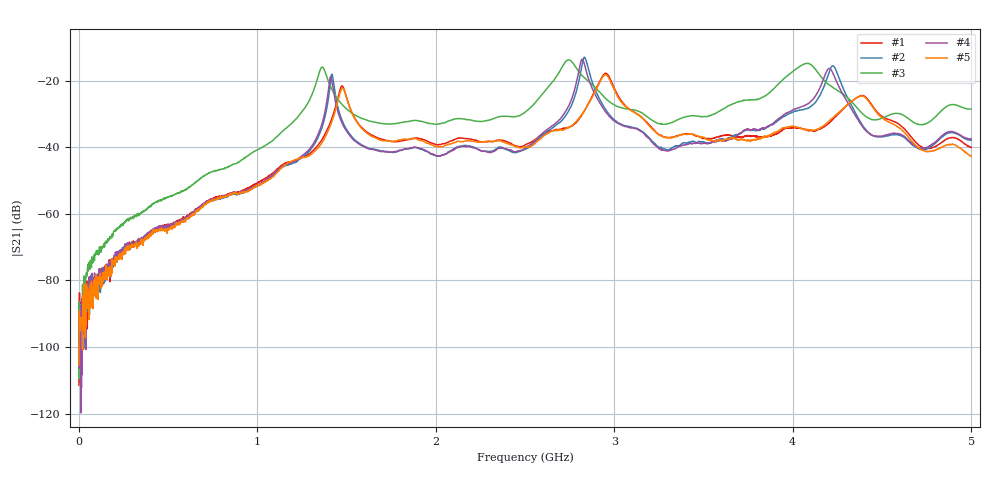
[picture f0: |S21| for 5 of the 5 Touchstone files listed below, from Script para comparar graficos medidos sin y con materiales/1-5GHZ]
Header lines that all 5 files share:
! NanoVNA-App
! Start: 10kHz Stop: 5GHz Points: 3201
! S-Parameter data: F S11 S21 S12 S22
# Hz S RI R 50
!  Frequency  S11_Real  S11_Imag  S21_Real  S21_Imag  S12_Real  S12_Imag  S22_Real  S22_Imag
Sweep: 10 kHz to 5 GHz
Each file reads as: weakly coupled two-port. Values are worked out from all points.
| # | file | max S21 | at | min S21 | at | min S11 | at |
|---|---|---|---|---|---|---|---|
| 1 | 1-5Ghz PP FR4 Taco Madera_puntos.s2p | -17.77 dB | 2.952 GHz | -111.4 dB | 10 kHz | -6.8 dB | 2.933 GHz |
| 2 | 1-5Ghz PP Rogers Taco Madera_puntos.s2p | -12.95 dB | 2.833 GHz | -106.7 dB | 10 kHz | -5.2 dB | 4.303 GHz |
| 3 | 1-5Ghz SodaLime FR4 Taco Madera_puntos.s2p | -13.73 dB | 2.745 GHz | -109.4 dB | 10 kHz | -6.8 dB | 4.023 GHz |
| 4 | 1-5Ghz Teflon  Rogers Taco Madera_puntos.s2p | -13.56 dB | 2.822 GHz | -119.8 dB | 10.95 MHz | -5.3 dB | 4.305 GHz |
| 5 | 1-5Ghz Teflon FR4 Taco Madera_puntos.s2p | -18.24 dB | 2.952 GHz | -105.4 dB | 10 kHz | -6.3 dB | 2.933 GHz |
